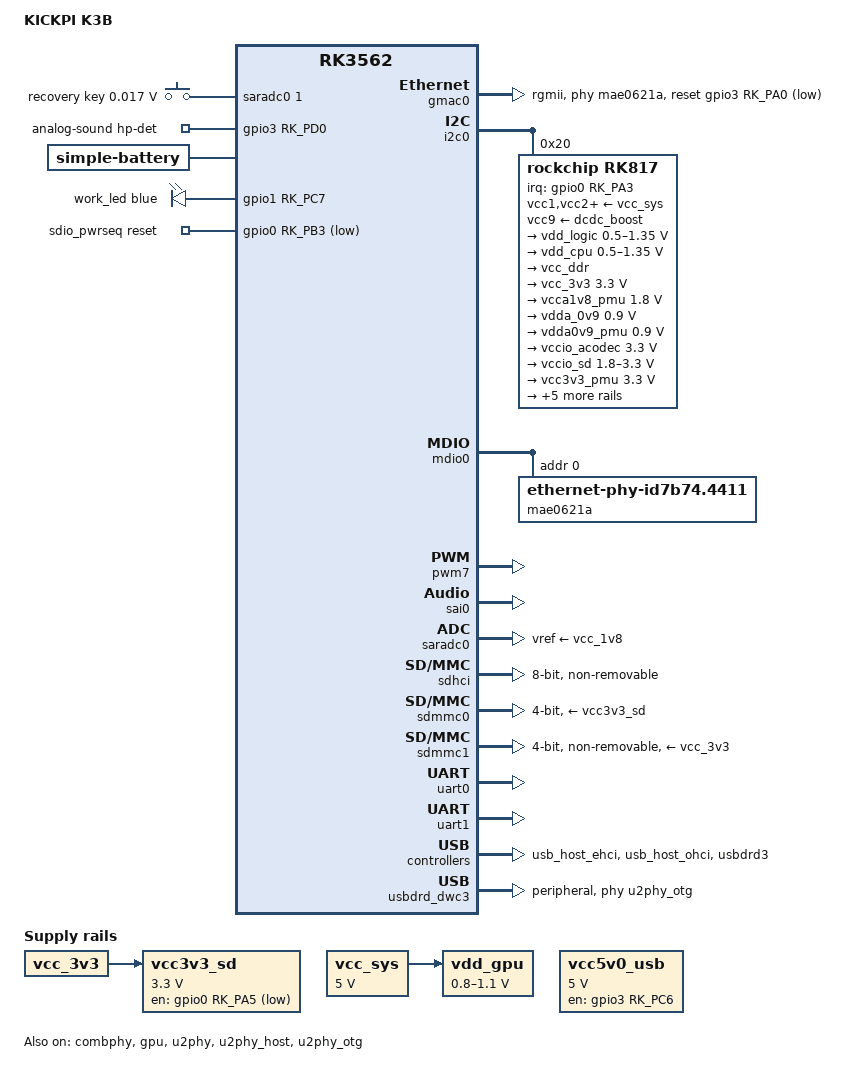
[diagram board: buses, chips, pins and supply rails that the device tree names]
// SPDX-License-Identifier: (GPL-2.0+ OR MIT)
/*
 * Copyright (c) 2026 retro98boy <retro98boy@qq.com>
 */

/dts-v1/;

#include <dt-bindings/gpio/gpio.h>
#include <dt-bindings/input/input.h>
#include <dt-bindings/leds/common.h>
#include <dt-bindings/pinctrl/rockchip.h>
#include "rk3562.dtsi"

/ {
	model = "KICKPI K3B";
	compatible = "kickpi,k3b", "rockchip,rk3562";

	chosen: chosen {
		stdout-path = "serial0:1500000n8";
	};

	adc_keys: adc-keys {
		compatible = "adc-keys";
		io-channels = <&saradc0 1>;
		io-channel-names = "buttons";
		keyup-threshold-microvolt = <1800000>;
		poll-interval = <100>;

		recovery-key {
			linux,code = <KEY_VENDOR>;
			label = "recovery key";
			press-threshold-microvolt = <17000>;
		};
	};

	analog-sound {
		compatible = "simple-audio-card";
		pinctrl-0 = <&hp_det>;
		pinctrl-names = "default";
		simple-audio-card,format = "i2s";
		simple-audio-card,hp-det-gpios = <&gpio3 RK_PD0 GPIO_ACTIVE_HIGH>;
		simple-audio-card,mclk-fs = <256>;
		simple-audio-card,name = "rk817_int";
		simple-audio-card,routing =
			"MICR", "Headset Mic",
			"Headphones", "HPOL",
			"Headphones", "HPOR",
			"Speaker", "SPKO";
		simple-audio-card,widgets =
			"Microphone", "Headset Mic",
			"Headphone", "Headphones",
			"Speaker", "Speaker";

		simple-audio-card,codec {
			sound-dai = <&rk817>;
			system-clock-frequency = <12288000>;
		};

		simple-audio-card,cpu {
			sound-dai = <&sai0>;
		};
	};

	/*
	 * Battery and charger values below are converted from the K3B BSP
	 * device-tree.  The BSP uses mAh, mV, and mOhm for its battery
	 * parameters, while the standard simple-battery binding uses uAh,
	 * uV, and uOhm.
	 *
	 * The BSP design_capacity and design_qmax are both 5000 mAh.  The
	 * BSP max_chrg_current and max_chrg_voltage are 3500 mA and 4350 mV.
	 * Its bat_res value is 100 mOhm.  The OCV table below is the BSP
	 * ocv_table reversed into descending voltage order and paired with
	 * the corresponding 0--100 percent capacity values.
	 *
	 * The BSP-specific virtual_power, monitor, and shutdown parameters
	 * have no equivalent in the standard simple-battery binding.
	 */
	battery: battery {
		compatible = "simple-battery";
		charge-full-design-microamp-hours = <5000000>;
		charge-term-current-microamp = <300000>;
		constant-charge-current-max-microamp = <3500000>;
		constant-charge-voltage-max-microvolt = <4350000>;
		factory-internal-resistance-micro-ohms = <100000>;
		voltage-max-design-microvolt = <4350000>;
		voltage-min-design-microvolt = <3400000>;

		/*
		 * The BSP has no temperature-specific OCV table.  The RK817
		 * driver assumes 20 degrees Celsius because the K3B has no
		 * working battery thermistor.
		 */
		ocv-capacity-celsius = <20>;
		ocv-capacity-table-0 =  <4204000 100>, <4191000 95>,
					<4153000 90>, <4126000 85>,
					<4094000 80>, <4051000 75>,
					<4014000 70>, <3986000 65>,
					<3958000 60>, <3923000 55>,
					<3878000 50>, <3830000 45>,
					<3791000 40>, <3760000 35>,
					<3735000 30>, <3713000 25>,
					<3691000 20>, <3662000 15>,
					<3620000 10>, <3573000 5>,
					<3400000 0>;
	};

	gpio-leds {
		compatible = "gpio-leds";
		pinctrl-names = "default";
		pinctrl-0 = <&work_led_pin>;

		work_led: led-0 {
			color = <LED_COLOR_ID_BLUE>;
			function = LED_FUNCTION_STATUS;
			gpios = <&gpio1 RK_PC7 GPIO_ACTIVE_HIGH>;
			linux,default-trigger = "heartbeat";
		};
	};

	sdio_pwrseq: sdio-pwrseq {
		compatible = "mmc-pwrseq-simple";
		clocks = <&rk817 1>;
		clock-names = "ext_clock";
		pinctrl-names = "default";
		pinctrl-0 = <&wifi_enable_h>;
		post-power-on-delay-ms = <200>;
		reset-gpios = <&gpio0 RK_PB3 GPIO_ACTIVE_LOW>;
	};

	vcc_sys: regulator-vcc-sys {
		compatible = "regulator-fixed";
		regulator-name = "vcc_sys";
		regulator-always-on;
		regulator-boot-on;
		regulator-min-microvolt = <5000000>;
		regulator-max-microvolt = <5000000>;
	};

	vcc3v3_sd: regulator-vcc3v3-sd {
		compatible = "regulator-fixed";
		regulator-name = "vcc3v3_sd";
		regulator-boot-on;
		regulator-min-microvolt = <3300000>;
		regulator-max-microvolt = <3300000>;
		gpio = <&gpio0 RK_PA5 GPIO_ACTIVE_LOW>;
		pinctrl-names = "default";
		pinctrl-0 = <&vcc3v3_sd_pin>;
		vin-supply = <&vcc_3v3>;
	};

	vcc5v0_usb: regulator-vcc5v0-usb {
		compatible = "regulator-fixed";
		regulator-name = "vcc5v0_usb";
		regulator-min-microvolt = <5000000>;
		regulator-max-microvolt = <5000000>;
		enable-active-high;
		gpio = <&gpio3 RK_PC6 GPIO_ACTIVE_HIGH>;
		pinctrl-names = "default";
		pinctrl-0 = <&vcc5v0_usb_pin>;
	};

	vdd_gpu: regulator-vdd-gpu {
		compatible = "pwm-regulator";
		regulator-name = "vdd_gpu";
		regulator-min-microvolt = <800000>;
		regulator-max-microvolt = <1100000>;
		regulator-init-microvolt = <900000>;
		regulator-always-on;
		regulator-boot-on;
		regulator-settling-time-up-us = <250>;
		pwms = <&pwm7 0 5000 1>;
		pwm-supply = <&vcc_sys>;
	};
};

&combphy {
	status = "okay";
};

&gmac0 {
	phy-handle = <&mae0621a>;
	phy-mode = "rgmii";
	clock_in_out = "output";
	tx_delay = <0x47>;
	rx_delay = <0x3f>;

	snps,reset-gpio = <&gpio3 RK_PA0 GPIO_ACTIVE_LOW>;
	snps,reset-active-low;
	snps,reset-delays-us = <0 20000 100000>;

	pinctrl-names = "default";
	pinctrl-0 = <&rgmiim0_miim
		&rgmiim0_tx_bus2
		&rgmiim0_rx_bus2
		&rgmiim0_rgmii_clk
		&rgmiim0_rgmii_bus>;

	status = "okay";
};

&gpu {
	mali-supply = <&vdd_gpu>;
	status = "okay";
};

&i2c0 {
	status = "okay";

	rk817: pmic@20 {
		compatible = "rockchip,rk817";
		reg = <0x20>;
		assigned-clock-parents = <&cru MCLK_SAI0>;
		assigned-clocks = <&cru MCLK_SAI0_OUT2IO>;
		#clock-cells = <1>;
		clock-names = "mclk";
		clock-output-names = "rk808-clkout1", "rk808-clkout2";
		clocks = <&cru MCLK_SAI0_TO_IO>;
		interrupt-parent = <&gpio0>;
		interrupts = <RK_PA3 IRQ_TYPE_LEVEL_LOW>;
		pinctrl-0 = <&i2s0m0_mclk &pmic_int>;
		pinctrl-names = "default";
		#sound-dai-cells = <0>;
		system-power-controller;
		wakeup-source;

		vcc1-supply = <&vcc_sys>;
		vcc2-supply = <&vcc_sys>;
		vcc3-supply = <&vcc_sys>;
		vcc4-supply = <&vcc_sys>;
		vcc5-supply = <&vcc_sys>;
		vcc6-supply = <&vcc_sys>;
		vcc7-supply = <&vcc_sys>;
		vcc8-supply = <&vcc_sys>;
		vcc9-supply = <&dcdc_boost>;

		regulators {
			vdd_logic: DCDC_REG1 {
				regulator-always-on;
				regulator-boot-on;
				regulator-min-microvolt = <500000>;
				regulator-max-microvolt = <1350000>;
				regulator-init-microvolt = <900000>;
				regulator-ramp-delay = <6001>;
				regulator-initial-mode = <0x2>;
				regulator-name = "vdd_logic";

				regulator-state-mem {
					regulator-off-in-suspend;
					regulator-suspend-microvolt = <900000>;
				};
			};

			vdd_cpu: DCDC_REG2 {
				regulator-always-on;
				regulator-boot-on;
				regulator-min-microvolt = <500000>;
				regulator-max-microvolt = <1350000>;
				regulator-init-microvolt = <900000>;
				regulator-ramp-delay = <6001>;
				regulator-initial-mode = <0x2>;
				regulator-name = "vdd_cpu";

				regulator-state-mem {
					regulator-off-in-suspend;
				};
			};

			vcc_ddr: DCDC_REG3 {
				regulator-always-on;
				regulator-boot-on;
				regulator-initial-mode = <0x2>;
				regulator-name = "vcc_ddr";

				regulator-state-mem {
					regulator-on-in-suspend;
				};
			};

			vcc_3v3: DCDC_REG4 {
				regulator-always-on;
				regulator-boot-on;
				regulator-min-microvolt = <3300000>;
				regulator-max-microvolt = <3300000>;
				regulator-initial-mode = <0x2>;
				regulator-name = "vcc_3v3";

				regulator-state-mem {
					regulator-on-in-suspend;
					regulator-suspend-microvolt = <3300000>;
				};
			};

			vcca1v8_pmu: LDO_REG1 {
				regulator-always-on;
				regulator-boot-on;
				regulator-min-microvolt = <1800000>;
				regulator-max-microvolt = <1800000>;
				regulator-name = "vcca1v8_pmu";

				regulator-state-mem {
					regulator-on-in-suspend;
					regulator-suspend-microvolt = <1800000>;
				};
			};

			vdda_0v9: LDO_REG2 {
				regulator-always-on;
				regulator-boot-on;
				regulator-min-microvolt = <900000>;
				regulator-max-microvolt = <900000>;
				regulator-name = "vdda_0v9";

				regulator-state-mem {
					regulator-off-in-suspend;
				};
			};

			vdda0v9_pmu: LDO_REG3 {
				regulator-always-on;
				regulator-boot-on;
				regulator-min-microvolt = <900000>;
				regulator-max-microvolt = <900000>;
				regulator-name = "vdda0v9_pmu";

				regulator-state-mem {
					regulator-on-in-suspend;
					regulator-suspend-microvolt = <900000>;
				};
			};

			vccio_acodec: LDO_REG4 {
				regulator-always-on;
				regulator-boot-on;
				regulator-min-microvolt = <3300000>;
				regulator-max-microvolt = <3300000>;
				regulator-name = "vccio_acodec";

				regulator-state-mem {
					regulator-off-in-suspend;
				};
			};

			vccio_sd: LDO_REG5 {
				regulator-always-on;
				regulator-boot-on;
				regulator-min-microvolt = <1800000>;
				regulator-max-microvolt = <3300000>;
				regulator-name = "vccio_sd";

				regulator-state-mem {
					regulator-off-in-suspend;
				};
			};

			vcc3v3_pmu: LDO_REG6 {
				regulator-always-on;
				regulator-boot-on;
				regulator-min-microvolt = <3300000>;
				regulator-max-microvolt = <3300000>;
				regulator-name = "vcc3v3_pmu";

				regulator-state-mem {
					regulator-on-in-suspend;
					regulator-suspend-microvolt = <3000000>;
				};
			};

			vcc_1v8: LDO_REG7 {
				regulator-always-on;
				regulator-boot-on;
				regulator-min-microvolt = <1800000>;
				regulator-max-microvolt = <1800000>;
				regulator-name = "vcc_1v8";

				regulator-state-mem {
					regulator-off-in-suspend;
				};
			};

			vcc1v8_dvp: LDO_REG8 {
				regulator-min-microvolt = <1800000>;
				regulator-max-microvolt = <1800000>;
				regulator-name = "vcc1v8_dvp";

				regulator-state-mem {
					regulator-off-in-suspend;
				};
			};

			vcc2v8_dvp: LDO_REG9 {
				regulator-min-microvolt = <2800000>;
				regulator-max-microvolt = <2800000>;
				regulator-name = "vcc2v8_dvp";

				regulator-state-mem {
					regulator-off-in-suspend;
				};
			};

			dcdc_boost: BOOST {
				regulator-always-on;
				regulator-boot-on;
				regulator-min-microvolt = <4700000>;
				regulator-max-microvolt = <5400000>;
				regulator-name = "boost";

				regulator-state-mem {
					regulator-off-in-suspend;
				};
			};

			otg_switch: OTG_SWITCH {
				regulator-name = "otg_switch";

				regulator-state-mem {
					regulator-off-in-suspend;
				};
			};
		};

		rk817_charger: charger {
			monitored-battery = <&battery>;
			/*
			 * The mainline RK817 driver sets the USB input current
			 * limit to 1.5 A during probe.  When no battery is
			 * connected and the K3B is powered solely through Type-C,
			 * the total peripheral current during boot can exceed 1.5 A
			 * and cause the system to reboot.  Raise the limit to 3 A.
			 *
			 * It is preferable to apply this setting in the bootloader
			 * as well, because Linux may configure the RK817 too late.
			 */
			rockchip,input-current-limit-microamp = <3000000>;
			rockchip,resistor-sense-micro-ohms = <10000>;
			rockchip,sleep-enter-current-microamp = <300000>;
			rockchip,sleep-filter-current-microamp = <100000>;
		};
	};
};

&mdio0 {
	mae0621a: ethernet-phy@0 {
		compatible = "ethernet-phy-id7b74.4411", "ethernet-phy-ieee802.3-c22";
		reg = <0x0>;
		clocks = <&cru CLK_GMAC_ETH_OUT2IO>;
		assigned-clocks = <&cru CLK_GMAC_ETH_OUT2IO>;
		assigned-clock-rates = <25000000>;
	};
};

&pinctrl {
	hp-detect {
		hp_det: hp-det {
			rockchip,pins = <3 RK_PD0 RK_FUNC_GPIO &pcfg_pull_none>;
		};
	};

	led {
		work_led_pin: work-led-pin {
			rockchip,pins = <1 RK_PC7 RK_FUNC_GPIO &pcfg_pull_none>;
		};
	};

	pmic {
		pmic_int: pmic-int {
			rockchip,pins = <0 RK_PA3 RK_FUNC_GPIO &pcfg_pull_up>;
		};
	};

	sdmmc {
		vcc3v3_sd_pin: vcc3v3-sd-pin {
			rockchip,pins = <0 RK_PA5 RK_FUNC_GPIO &pcfg_pull_none>;
		};
	};

	usb {
		vcc5v0_usb_pin: vcc5v0-usb-pin {
			rockchip,pins = <3 RK_PC6 RK_FUNC_GPIO &pcfg_pull_none>;
		};
	};

	wireless-bluetooth {
		bt_reg_on_h: bt-reg-on-h {
			rockchip,pins = <0 RK_PC5 RK_FUNC_GPIO &pcfg_pull_none>;
		};

		bt_wake_host_h: bt-wake-host-h {
			rockchip,pins = <0 RK_PC7 RK_FUNC_GPIO &pcfg_pull_none>;
		};

		host_wake_bt_h: host-wake-bt-h {
			rockchip,pins = <0 RK_PC6 RK_FUNC_GPIO &pcfg_pull_none>;
		};
	};

	wireless-wlan {
		wifi_enable_h: wifi-enable-h {
			rockchip,pins = <0 RK_PB3 RK_FUNC_GPIO &pcfg_pull_up>;
		};

		wifi_host_wake_irq: wifi-host-wake-irq {
			rockchip,pins = <0 RK_PB4 RK_FUNC_GPIO &pcfg_pull_down>;
		};
	};
};

&pwm7 {
	status = "okay";
};

&sai0 {
	pinctrl-names = "default";
	pinctrl-0 = <&i2s0m0_lrck
		&i2s0m0_sclk
		&i2s0m0_sdi0
		&i2s0m0_sdo0>;
	status = "okay";
};

&saradc0 {
	vref-supply = <&vcc_1v8>;
	status = "okay";
};

&sdhci {
	bus-width = <8>;
	no-sdio;
	no-sd;
	non-removable;
	mmc-hs400-1_8v;
	mmc-hs400-enhanced-strobe;
	full-pwr-cycle-in-suspend;
	status = "okay";
};

&sdmmc0 {
	no-sdio;
	no-mmc;
	bus-width = <4>;
	cap-mmc-highspeed;
	cap-sd-highspeed;
	disable-wp;
	pinctrl-names = "default";
	pinctrl-0 = <&sdmmc0_bus4 &sdmmc0_clk &sdmmc0_cmd &sdmmc0_det>;
	sd-uhs-sdr104;
	vmmc-supply = <&vcc3v3_sd>;
	vqmmc-supply = <&vccio_sd>;
	status = "okay";
};

&sdmmc1 {
	no-sd;
	no-mmc;
	bus-width = <4>;
	disable-wp;
	cap-sd-highspeed;
	cap-sdio-irq;
	keep-power-in-suspend;
	mmc-pwrseq = <&sdio_pwrseq>;
	non-removable;
	pinctrl-names = "default";
	pinctrl-0 = <&sdmmc1_bus4 &sdmmc1_cmd &sdmmc1_clk>;
	sd-uhs-sdr104;
	vmmc-supply = <&vcc_3v3>;
	vqmmc-supply = <&vcca1v8_pmu>;
	status = "okay";
};

&uart0 {
	status = "okay";
};

&uart1 {
	pinctrl-names = "default";
	pinctrl-0 = <&uart1m0_xfer &uart1m0_ctsn>;
	status = "okay";
};

&u2phy {
	status = "okay";
};

&u2phy_host {
	phy-supply = <&vcc5v0_usb>;
	status = "okay";
};

&u2phy_otg {
	status = "okay";
};

&usb_host_ehci {
	status = "okay";
};

&usb_host_ohci {
	status = "okay";
};

&usbdrd3 {
	status = "okay";
};

/*
 * KICKPI K3B's Type-C connector only routes D+/D- and supports power input,
 * not power output, so it can only operate as a USB device.
 */
&usbdrd_dwc3 {
	dr_mode = "peripheral";
	maximum-speed = "high-speed";
	phys = <&u2phy_otg>;
	phy-names = "usb2-phy";
	status = "okay";
};
